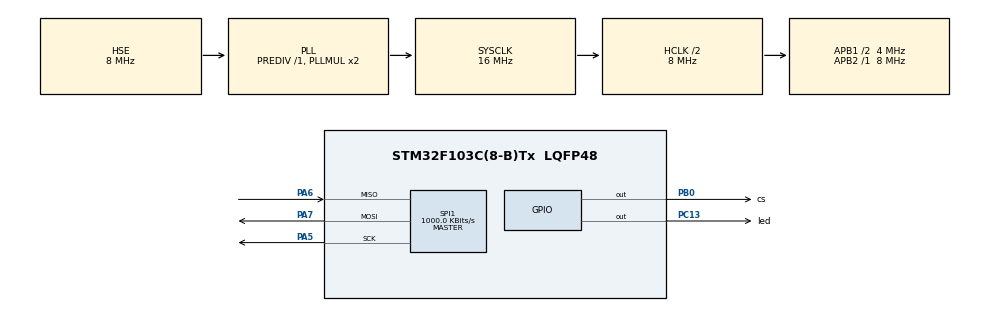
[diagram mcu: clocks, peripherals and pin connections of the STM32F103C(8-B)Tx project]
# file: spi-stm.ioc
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Mcu.Family=STM32F1
Mcu.Name=STM32F103C(8-B)Tx
Mcu.Package=LQFP48
NVIC.PriorityGroup=NVIC_PRIORITYGROUP_4
PA13.Mode=Serial_Wire
PA13.Signal=SYS_JTMS-SWDIO
PA14.Mode=Serial_Wire
PA14.Signal=SYS_JTCK-SWCLK
PA5.Mode=Full_Duplex_Master
PA5.Signal=SPI1_SCK
PA6.Mode=Full_Duplex_Master
PA6.Signal=SPI1_MISO
PA7.Mode=Full_Duplex_Master
PA7.Signal=SPI1_MOSI
PB0.GPIO_Label=cs
PB0.Signal=GPIO_Output
PC13-TAMPER-RTC.GPIO_Label=led
PC13-TAMPER-RTC.Signal=GPIO_Output
PD0-OSC_IN.Mode=HSE-External-Oscillator
PD0-OSC_IN.Signal=RCC_OSC_IN
PD1-OSC_OUT.Mode=HSE-External-Oscillator
PD1-OSC_OUT.Signal=RCC_OSC_OUT
ProjectManager.HeapSize=0x200
ProjectManager.StackSize=0x400
ProjectManager.TargetToolchain=Makefile
RCC.AHBCLKDivider=RCC_SYSCLK_DIV2
RCC.AHBFreq_Value=8000000
RCC.APB1CLKDivider=RCC_HCLK_DIV2
RCC.APB1Freq_Value=4000000
RCC.APB1TimFreq_Value=8000000
RCC.APB2Freq_Value=8000000
RCC.APB2TimFreq_Value=8000000
RCC.HCLKFreq_Value=8000000
RCC.PLLSourceVirtual=RCC_PLLSOURCE_HSE
RCC.SYSCLKFreq_VALUE=16000000
RCC.SYSCLKSource=RCC_SYSCLKSOURCE_PLLCLK
RCC.USBFreq_Value=16000000
SPI1.BaudRatePrescaler=SPI_BAUDRATEPRESCALER_8
SPI1.CRCCalculation=SPI_CRCCALCULATION_DISABLE
SPI1.CalculateBaudRate=1000.0 KBits/s
SPI1.Direction=SPI_DIRECTION_2LINES
SPI1.Mode=SPI_MODE_MASTER
SPI1.VirtualType=VM_MASTER
board=custom

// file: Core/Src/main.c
/* USER CODE BEGIN Header */
/**
  ******************************************************************************
  * @file           : main.c
  * @brief          : Main program body
  ******************************************************************************
  * @attention
  *
  * Copyright (c) 2025 STMicroelectronics.
  * All rights reserved.
  *
  * This software is licensed under terms that can be found in the LICENSE file
  * in the root directory of this software component.
  * If no LICENSE file comes with this software, it is provided AS-IS.
  *
  ******************************************************************************
  */
/* USER CODE END Header */
#include "main.h"

/* USER CODE BEGIN Includes */
#include <stdio.h>
#include <string.h>
#include "rfid_spi.h"

/* USER CODE END Includes */

/* USER CODE BEGIN PD */
#define UID_UZUNLUK 4
#define UID_ADET 1

uint8_t dogru_uid[UID_ADET][UID_UZUNLUK] = {
    {0x92, 0x50, 0xEC, 0xCA}
};

/* USER CODE END PD */

SPI_HandleTypeDef hspi1;

/* USER CODE BEGIN PV */
uint8_t uid[5];
/* USER CODE END PV */

void SystemClock_Config(void);
static void MX_GPIO_Init(void);
static void MX_SPI1_Init(void);

/* USER CODE BEGIN 0 */
void same(uint8_t* uid) {
    int match = 0;

      if(uid_oku(uid)){
        for (int i = 0; i < UID_ADET; i++) {
        int eslesti = 1;
        for (int j = 0; j <UID_UZUNLUK; j++) {
            if (uid[j] != dogru_uid[i][j]) {
                eslesti = 0;
                break;
            }
        }
        if (eslesti) {
            match = 1;
            break;
        }
    }
    if (match) {
        HAL_GPIO_WritePin(GPIOC, led_Pin, GPIO_PIN_RESET);  // LED ON
    } else {
        HAL_GPIO_WritePin(GPIOC, led_Pin, GPIO_PIN_SET);    // LED OFF
    }

    }
}
/* USER CODE END 0 */

int main(void)
{

  /* MCU Configuration--------------------------------------------------------*/

  /* Reset of all peripherals, Initializes the Flash interface and the Systick. */
  HAL_Init();

  /* Configure the system clock */
  SystemClock_Config();

  /* Initialize all configured peripherals */
  MX_GPIO_Init();
  MX_SPI1_Init();
  /* USER CODE BEGIN 2 */
  HAL_GPIO_WritePin(GPIOC,led_Pin,GPIO_PIN_SET);
  initial();

  /* USER CODE END 2 */

  /* Infinite loop */
  while (1)
  {

    /* USER CODE BEGIN 3 */
    same(uid);
  }
  /* USER CODE END 3 */
}

void SystemClock_Config(void)
{
  RCC_OscInitTypeDef RCC_OscInitStruct = {0};
  RCC_ClkInitTypeDef RCC_ClkInitStruct = {0};

  /** Initializes the RCC Oscillators according to the specified parameters
  * in the RCC_OscInitTypeDef structure.
  */
  RCC_OscInitStruct.OscillatorType = RCC_OSCILLATORTYPE_HSE;
  RCC_OscInitStruct.HSEState = RCC_HSE_ON;
  RCC_OscInitStruct.HSEPredivValue = RCC_HSE_PREDIV_DIV1;
  RCC_OscInitStruct.HSIState = RCC_HSI_ON;
  RCC_OscInitStruct.PLL.PLLState = RCC_PLL_ON;
  RCC_OscInitStruct.PLL.PLLSource = RCC_PLLSOURCE_HSE;
  RCC_OscInitStruct.PLL.PLLMUL = RCC_PLL_MUL2;
  if (HAL_RCC_OscConfig(&RCC_OscInitStruct) != HAL_OK)
  {
    Error_Handler();
  }

  /** Initializes the CPU, AHB and APB buses clocks
  */
  RCC_ClkInitStruct.ClockType = RCC_CLOCKTYPE_HCLK|RCC_CLOCKTYPE_SYSCLK
                              |RCC_CLOCKTYPE_PCLK1|RCC_CLOCKTYPE_PCLK2;
  RCC_ClkInitStruct.SYSCLKSource = RCC_SYSCLKSOURCE_PLLCLK;
  RCC_ClkInitStruct.AHBCLKDivider = RCC_SYSCLK_DIV2;
  RCC_ClkInitStruct.APB1CLKDivider = RCC_HCLK_DIV2;
  RCC_ClkInitStruct.APB2CLKDivider = RCC_HCLK_DIV1;

  if (HAL_RCC_ClockConfig(&RCC_ClkInitStruct, FLASH_LATENCY_0) != HAL_OK)
  {
    Error_Handler();
  }
}

static void MX_SPI1_Init(void)
{

  /* SPI1 parameter configuration*/
  hspi1.Instance = SPI1;
  hspi1.Init.Mode = SPI_MODE_MASTER;
  hspi1.Init.Direction = SPI_DIRECTION_2LINES;
  hspi1.Init.DataSize = SPI_DATASIZE_8BIT;
  hspi1.Init.CLKPolarity = SPI_POLARITY_LOW;
  hspi1.Init.CLKPhase = SPI_PHASE_1EDGE;
  hspi1.Init.NSS = SPI_NSS_SOFT;
  hspi1.Init.BaudRatePrescaler = SPI_BAUDRATEPRESCALER_8;
  hspi1.Init.FirstBit = SPI_FIRSTBIT_MSB;
  hspi1.Init.TIMode = SPI_TIMODE_DISABLE;
  hspi1.Init.CRCCalculation = SPI_CRCCALCULATION_DISABLE;
  hspi1.Init.CRCPolynomial = 10;
  if (HAL_SPI_Init(&hspi1) != HAL_OK)
  {
    Error_Handler();
  }

}

static void MX_GPIO_Init(void)
{
  GPIO_InitTypeDef GPIO_InitStruct = {0};

  /* GPIO Ports Clock Enable */
  __HAL_RCC_GPIOC_CLK_ENABLE();
  __HAL_RCC_GPIOD_CLK_ENABLE();
  __HAL_RCC_GPIOA_CLK_ENABLE();
  __HAL_RCC_GPIOB_CLK_ENABLE();

  /*Configure GPIO pin Output Level */
  HAL_GPIO_WritePin(led_GPIO_Port, led_Pin, GPIO_PIN_RESET);

  /*Configure GPIO pin Output Level */
  HAL_GPIO_WritePin(cs_GPIO_Port, cs_Pin, GPIO_PIN_RESET);

  /*Configure GPIO pin : led_Pin */
  GPIO_InitStruct.Pin = led_Pin;
  GPIO_InitStruct.Mode = GPIO_MODE_OUTPUT_PP;
  GPIO_InitStruct.Pull = GPIO_NOPULL;
  GPIO_InitStruct.Speed = GPIO_SPEED_FREQ_LOW;
  HAL_GPIO_Init(led_GPIO_Port, &GPIO_InitStruct);

  /*Configure GPIO pin : cs_Pin */
  GPIO_InitStruct.Pin = cs_Pin;
  GPIO_InitStruct.Mode = GPIO_MODE_OUTPUT_PP;
  GPIO_InitStruct.Pull = GPIO_NOPULL;
  GPIO_InitStruct.Speed = GPIO_SPEED_FREQ_LOW;
  HAL_GPIO_Init(cs_GPIO_Port, &GPIO_InitStruct);

}

void Error_Handler(void)
{
  __disable_irq();
  while (1)
  {
  }
}
